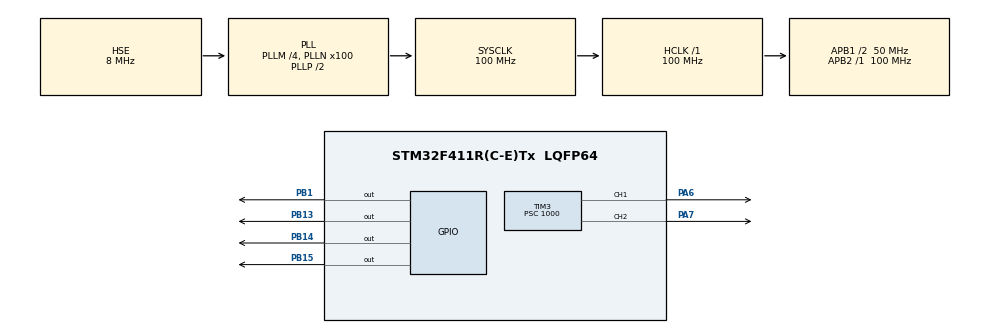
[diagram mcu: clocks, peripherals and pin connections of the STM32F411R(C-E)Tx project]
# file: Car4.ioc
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Mcu.Family=STM32F4
Mcu.Name=STM32F411R(C-E)Tx
Mcu.Package=LQFP64
NVIC.PriorityGroup=NVIC_PRIORITYGROUP_4
PA13.Mode=Serial_Wire
PA13.Signal=SYS_JTMS-SWDIO
PA14.Mode=Serial_Wire
PA14.Signal=SYS_JTCK-SWCLK
PA6.Signal=S_TIM3_CH1
PA7.Signal=S_TIM3_CH2
PB1.Signal=GPIO_Output
PB13.Signal=GPIO_Output
PB14.Signal=GPIO_Output
PB15.Signal=GPIO_Output
PH0\ -\ OSC_IN.Mode=HSE-External-Oscillator
PH0\ -\ OSC_IN.Signal=RCC_OSC_IN
PH1\ -\ OSC_OUT.Mode=HSE-External-Oscillator
PH1\ -\ OSC_OUT.Signal=RCC_OSC_OUT
ProjectManager.HeapSize=0x200
ProjectManager.StackSize=0x400
ProjectManager.TargetToolchain=STM32CubeIDE
RCC.48MHZClocksFreq_Value=50000000
RCC.AHBFreq_Value=100000000
RCC.APB1CLKDivider=RCC_HCLK_DIV2
RCC.APB1Freq_Value=50000000
RCC.APB1TimFreq_Value=100000000
RCC.APB2Freq_Value=100000000
RCC.APB2TimFreq_Value=100000000
RCC.CortexFreq_Value=100000000
RCC.HCLKFreq_Value=100000000
RCC.HSE_VALUE=8000000
RCC.HSI_VALUE=16000000
RCC.LSE_VALUE=32768
RCC.PLLM=4
RCC.PLLN=100
RCC.PLLSourceVirtual=RCC_PLLSOURCE_HSE
RCC.SYSCLKFreq_VALUE=100000000
RCC.SYSCLKSource=RCC_SYSCLKSOURCE_PLLCLK
RCC.VCOOutputFreq_Value=200000000
SH.S_TIM3_CH1.0=TIM3_CH1,PWM Generation1 CH1
SH.S_TIM3_CH2.0=TIM3_CH2,PWM Generation2 CH2
TIM3.Channel-PWM\ Generation1\ CH1=TIM_CHANNEL_1
TIM3.Channel-PWM\ Generation2\ CH2=TIM_CHANNEL_2
TIM3.Period=1000
TIM3.Prescaler=1000
VP_TIM1_VS_ClockSourceINT.Mode=Internal
VP_TIM3_VS_ClockSourceINT.Mode=Internal
board=custom

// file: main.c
/* USER CODE BEGIN Header */
/**
  ******************************************************************************
  * @file           : main.c
  * @brief          : Main program body
  ******************************************************************************
  * @attention
  *
  * Copyright (c) 2025 STMicroelectronics.
  * All rights reserved.
  *
  * This software is licensed under terms that can be found in the LICENSE file
  * in the root directory of this software component.
  * If no LICENSE file comes with this software, it is provided AS-IS.
  *
  ******************************************************************************
  */
/* USER CODE END Header */
#include "main.h"
#include "tim.h"
#include "gpio.h"

void SystemClock_Config(void);
/* USER CODE BEGIN PFP */
typedef enum
{
	LED_LOW,
	LED_HIGH
}LED_STATE;

/* USER CODE END PFP */

int main(void)
{

  /* MCU Configuration--------------------------------------------------------*/

  /* Reset of all peripherals, Initializes the Flash interface and the Systick. */
  HAL_Init();

  /* Configure the system clock */
  SystemClock_Config();

  /* Initialize all configured peripherals */
  MX_GPIO_Init();
  MX_TIM1_Init();
  MX_TIM3_Init();
  /* USER CODE BEGIN 2 */
//  HAL_TIM_Base_Start(&htim3);
  HAL_TIM_PWM_Start(&htim3, TIM_CHANNEL_1);
  HAL_TIM_PWM_Start(&htim3, TIM_CHANNEL_2);

  //전진
//  HAL_GPIO_WritePin(GPIOB, GPIO_PIN_1, LED_LOW);
//  HAL_GPIO_WritePin(GPIOB, GPIO_PIN_15, LED_HIGH);
//  HAL_GPIO_WritePin(GPIOB, GPIO_PIN_13, LED_LOW);
//  HAL_GPIO_WritePin(GPIOB, GPIO_PIN_14, LED_HIGH);

  //후진
//  HAL_GPIO_WritePin(GPIOB, GPIO_PIN_1, LED_HIGH);
//  HAL_GPIO_WritePin(GPIOB, GPIO_PIN_15, LED_LOW);
//  HAL_GPIO_WritePin(GPIOB, GPIO_PIN_13, LED_HIGH);
//  HAL_GPIO_WritePin(GPIOB, GPIO_PIN_14, LED_LOW);

  //좌
  HAL_GPIO_WritePin(GPIOB, GPIO_PIN_1, LED_HIGH);
  HAL_GPIO_WritePin(GPIOB, GPIO_PIN_15, LED_LOW);
  HAL_GPIO_WritePin(GPIOB, GPIO_PIN_13, LED_LOW);
  HAL_GPIO_WritePin(GPIOB, GPIO_PIN_14, LED_HIGH);

  //우
//  HAL_GPIO_WritePin(GPIOB, GPIO_PIN_1, LED_LOW);
//  HAL_GPIO_WritePin(GPIOB, GPIO_PIN_15, LED_HIGH);
//  HAL_GPIO_WritePin(GPIOB, GPIO_PIN_13, LED_HIGH);
//  HAL_GPIO_WritePin(GPIOB, GPIO_PIN_14, LED_LOW);

  TIM3->CCR1 = 200;
  TIM3->CCR2 = 200;
  HAL_Delay(3000);
  TIM3->CCR1 = 0;
  TIM3->CCR2 = 0;

  /* USER CODE END 2 */

  /* Infinite loop */
  /* USER CODE BEGIN WHILE */
  while (1)
  {

	  // 빠르게 이동 (듀티 사이클 90%)
	  //    TIM3->CCR1 = 900;  // 왼쪽 모터 속도 조절 (PWM)
	    //  TIM3->CCR2 = 900;  // 오른쪽 모터 속도 조절 (PWM)
//	      HAL_Delay(3000);

	  	  // 최저속도 135
	      // 중간 속도 (듀티 사이클 50%)
//	      TIM3->CCR1 = 200;
//	      TIM3->CCR2 = 200;
//	      HAL_Delay(3000);
//	      TIM3->CCR1 = 0;
//	      TIM3->CCR2 = 0;

//	  uint32_t apb1_clk = HAL_RCC_GetPCLK1Freq();
//	  uint32_t apb2_clk = HAL_RCC_GetPCLK2Freq();

	  /*
      HAL_Delay(5000);
	  HAL_GPIO_WritePin(GPIOB, GPIO_PIN_1, LED_HIGH);
	  HAL_GPIO_WritePin(GPIOB, GPIO_PIN_15, LED_LOW);
      HAL_GPIO_WritePin(GPIOB, GPIO_PIN_14, LED_HIGH);
      HAL_GPIO_WritePin(GPIOB, GPIO_PIN_13, LED_HIGH);
      HAL_Delay(5000);
	  HAL_GPIO_WritePin(GPIOB, GPIO_PIN_1, LED_HIGH);
	  HAL_GPIO_WritePin(GPIOB, GPIO_PIN_15, LED_HIGH);
      HAL_GPIO_WritePin(GPIOB, GPIO_PIN_14, LED_HIGH);
      HAL_GPIO_WritePin(GPIOB, GPIO_PIN_13, LED_LOW);
      HAL_Delay(5000);
      */
    /* USER CODE END WHILE */

  }
}

void SystemClock_Config(void)
{
  RCC_OscInitTypeDef RCC_OscInitStruct = {0};
  RCC_ClkInitTypeDef RCC_ClkInitStruct = {0};

  /** Configure the main internal regulator output voltage
  */
  __HAL_RCC_PWR_CLK_ENABLE();
  __HAL_PWR_VOLTAGESCALING_CONFIG(PWR_REGULATOR_VOLTAGE_SCALE1);

  /** Initializes the RCC Oscillators according to the specified parameters
  * in the RCC_OscInitTypeDef structure.
  */
  RCC_OscInitStruct.OscillatorType = RCC_OSCILLATORTYPE_HSE;
  RCC_OscInitStruct.HSEState = RCC_HSE_ON;
  RCC_OscInitStruct.PLL.PLLState = RCC_PLL_ON;
  RCC_OscInitStruct.PLL.PLLSource = RCC_PLLSOURCE_HSE;
  RCC_OscInitStruct.PLL.PLLM = 4;
  RCC_OscInitStruct.PLL.PLLN = 100;
  RCC_OscInitStruct.PLL.PLLP = RCC_PLLP_DIV2;
  RCC_OscInitStruct.PLL.PLLQ = 4;
  if (HAL_RCC_OscConfig(&RCC_OscInitStruct) != HAL_OK)
  {
    Error_Handler();
  }

  /** Initializes the CPU, AHB and APB buses clocks
  */
  RCC_ClkInitStruct.ClockType = RCC_CLOCKTYPE_HCLK|RCC_CLOCKTYPE_SYSCLK
                              |RCC_CLOCKTYPE_PCLK1|RCC_CLOCKTYPE_PCLK2;
  RCC_ClkInitStruct.SYSCLKSource = RCC_SYSCLKSOURCE_PLLCLK;
  RCC_ClkInitStruct.AHBCLKDivider = RCC_SYSCLK_DIV1;
  RCC_ClkInitStruct.APB1CLKDivider = RCC_HCLK_DIV2;
  RCC_ClkInitStruct.APB2CLKDivider = RCC_HCLK_DIV1;

  if (HAL_RCC_ClockConfig(&RCC_ClkInitStruct, FLASH_LATENCY_3) != HAL_OK)
  {
    Error_Handler();
  }
}

void Error_Handler(void)
{
  __disable_irq();
  while (1)
  {
  }
}
